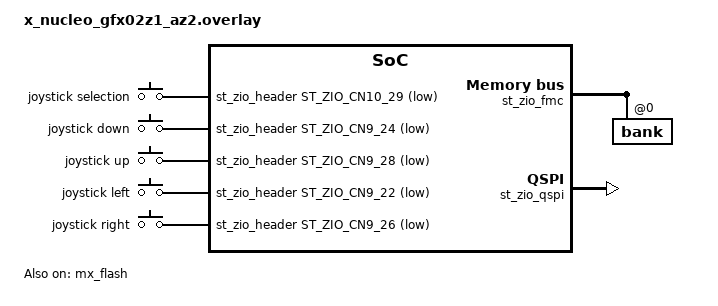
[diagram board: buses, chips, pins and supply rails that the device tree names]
/*
 * Copyright (c) 2026 Michele Vaccari
 *
 * SPDX-License-Identifier: Apache-2.0
 */

#include <zephyr/dt-bindings/gpio/st-zio-header.h>
#include <zephyr/dt-bindings/input/input-event-codes.h>
#include <zephyr/dt-bindings/memory-controller/stm32-fmc-nor-psram.h>
#include <zephyr/dt-bindings/display/panel.h>
#include <mem.h>
#include <freq.h>

/ {
	chosen {
		zephyr,display = &st7789v;
	};

	aliases {
		sw0 = &joy_sel;
	};

	gpio_keys {
		compatible = "gpio-keys";

		joy_sel: joystick_selection {
			label = "joystick selection";
			gpios = <&st_zio_header ST_ZIO_CN10_29 (GPIO_ACTIVE_LOW | GPIO_PULL_UP)>;
			zephyr,code = <INPUT_KEY_ENTER>;
		};

		joy_down: joystick_down {
			label = "joystick down";
			gpios = <&st_zio_header ST_ZIO_CN9_24 (GPIO_ACTIVE_LOW | GPIO_PULL_UP)>;
			zephyr,code = <INPUT_KEY_DOWN>;
		};

		joy_up: joystick_up {
			label = "joystick up";
			gpios = <&st_zio_header ST_ZIO_CN9_28 (GPIO_ACTIVE_LOW | GPIO_PULL_UP)>;
			zephyr,code = <INPUT_KEY_UP>;
		};

		joy_left: joystick_left {
			label = "joystick left";
			gpios = <&st_zio_header ST_ZIO_CN9_22 (GPIO_ACTIVE_LOW | GPIO_PULL_UP)>;
			zephyr,code = <INPUT_KEY_LEFT>;
		};

		joy_right: joystick_right {
			label = "joystick right";
			gpios = <&st_zio_header ST_ZIO_CN9_26 (GPIO_ACTIVE_LOW | GPIO_PULL_UP)>;
			zephyr,code = <INPUT_KEY_RIGHT>;
		};
	};
};

&st_zio_fmc {
	status = "okay";

	sram {
		status = "okay";

		bank@0 {
			reg = <STM32_FMC_NORSRAM_BANK1>;
			st,control = <STM32_FMC_DATA_ADDRESS_MUX_DISABLE
				      STM32_FMC_MEMORY_TYPE_SRAM
				      STM32_FMC_NORSRAM_MEM_BUS_WIDTH_8
				      STM32_FMC_BURST_ACCESS_MODE_DISABLE
				      STM32_FMC_WAIT_SIGNAL_POLARITY_LOW
				      STM32_FMC_WAIT_TIMING_BEFORE_WS
				      STM32_FMC_WRITE_OPERATION_ENABLE
				      STM32_FMC_WAIT_SIGNAL_DISABLE
				      STM32_FMC_EXTENDED_MODE_DISABLE
				      STM32_FMC_ASYNCHRONOUS_WAIT_DISABLE
				      STM32_FMC_WRITE_BURST_DISABLE
				      STM32_FMC_CONTINUOUS_CLOCK_SYNC_ONLY
				      STM32_FMC_WRITE_FIFO_DISABLE
				      STM32_FMC_PAGE_SIZE_NONE>;
			st,timing = <1 1 32 0 2 2 STM32_FMC_ACCESS_MODE_A>;

			fmc_mipi_dbi: fmc-mipi-dbi {
				compatible = "st,stm32-fmc-mipi-dbi";
				reset-gpios = <&st_zio_header ST_ZIO_CN10_6 GPIO_ACTIVE_LOW>;
				register-select-pin = <20>;
				#address-cells = <1>;
				#size-cells = <0>;

				st7789v: st7789v@0 {
					compatible = "sitronix,st7789v";
					reg = <0>;
					mipi-mode = "MIPI_DBI_MODE_8080_BUS_8_BIT";
					mipi-max-frequency = <DT_FREQ_M(10)>;
					width = <240>;
					height = <320>;
					x-offset = <0>;
					y-offset = <0>;
					vcom = <0x1f>;
					gctrl = <0x35>;
					vdvs = <0x20>;
					mdac = <0x80>;
					gamma = <0x01>;
					pixel-format = <PANEL_PIXEL_FORMAT_RGB_565>;
					lcm = <0x2c>;
					inversion-off;
					porch-param = [0c 0c 00 33 33];
					cmd2en-param = [5a 69 02 00];
					pwctrl1-param = [a4 a1];
					pvgam-param = [d0 08 11 08 0c 15 39 33 50 36 13 14 29 2d];
					nvgam-param = [d0 08 10 08 06 06 39 44 51 0b 16 14 2f 31];
					ram-param = [00 f0];
					rgb-param = [40 02 14];
				};
			};
		};
	};
};

&st_zio_qspi {
	status = "okay";
};

&mx_flash {
	size = <DT_SIZE_M(64)>;
	spi-bus-width = <4>;
	status = "okay";
};
